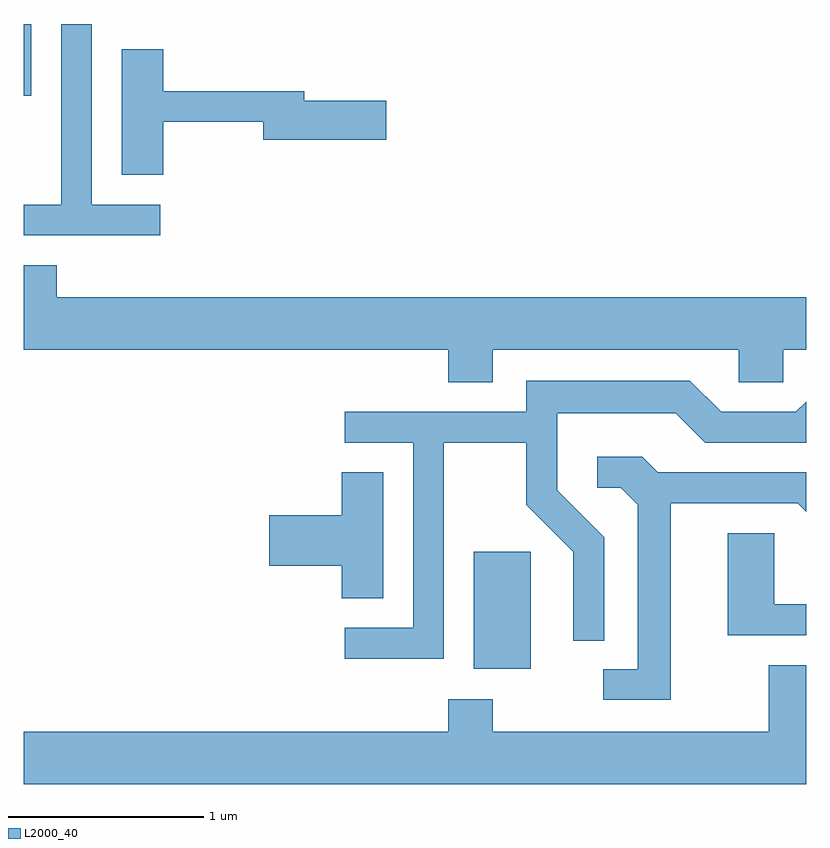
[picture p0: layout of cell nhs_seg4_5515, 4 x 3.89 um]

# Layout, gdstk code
import gdstk
lib = gdstk.Library(unit=1e-6, precision=1e-09)
def R(c, l, rs):  # rectangles x0, y0, x1, y1
    for r in rs: c.add(gdstk.rectangle(r[:2], r[2:], *l))
def P(c, l, *ps):  # polygons
    for p in ps: c.add(gdstk.Polygon(p, *l))
L2000_40 = (2000, 40)

nhs_seg4_5515 = lib.new_cell('nhs_seg4_5515')
R(nhs_seg4_5515, L2000_40, [(349.911,1268.686,350.204,1269.284), (347.611,1271.616,347.649,1271.982)])
P(nhs_seg4_5515, L2000_40, [(348.308,1271.059),(347.959,1271.059),(347.959,1271.982),(347.801,1271.982),(347.801,1271.059),(347.611,1271.059),(347.611,1270.901),(348.308,1270.901)],
  [(348.324,1271.481),(348.836,1271.481),(348.836,1271.391),(349.464,1271.391),(349.464,1271.589),(349.044,1271.589),(349.044,1271.639),(348.324,1271.639),(348.324,1271.854),(348.111,1271.854),(348.111,1271.211),(348.324,1271.211)],
  [(347.611,1270.749),(347.611,1270.316),(349.781,1270.316),(349.781,1270.151),(350.009,1270.151),(350.009,1270.316),(351.266,1270.316),(351.266,1270.151),(351.494,1270.151),(351.494,1270.316),(351.611,1270.316),(351.611,1270.584),(347.779,1270.584),(347.779,1270.749)],
  [(349.759,1269.841),(350.181,1269.841),(350.181,1269.524),(350.421,1269.284),(350.421,1268.828),(350.579,1268.828),(350.579,1269.357),(350.339,1269.597),(350.339,1269.991),(350.944,1269.991),(351.094,1269.841),(351.611,1269.841),(351.611,1270.051),(351.559,1269.999),(351.177,1269.999),(351.017,1270.159),(350.181,1270.159),(350.181,1269.999),(349.253,1269.999),(349.253,1269.841),(349.601,1269.841),(349.601,1268.894),(349.253,1268.894),(349.253,1268.736),(349.759,1268.736)],
  [(350.919,1269.531),(351.569,1269.531),(351.611,1269.489),(351.611,1269.689),(350.852,1269.689),(350.772,1269.769),(350.543,1269.769),(350.543,1269.611),(350.664,1269.611),(350.751,1269.524),(350.751,1268.684),(350.573,1268.684),(350.573,1268.526),(350.919,1268.526)],
  [(349.449,1269.689),(349.236,1269.689),(349.236,1269.469),(348.866,1269.469),(348.866,1269.211),(349.236,1269.211),(349.236,1269.046),(349.449,1269.046)],
  [(351.611,1269.014),(351.449,1269.014),(351.449,1269.379),(351.211,1269.379),(351.211,1268.856),(351.611,1268.856)],
  [(351.611,1268.704),(351.421,1268.704),(351.421,1268.364),(350.009,1268.364),(350.009,1268.529),(349.781,1268.529),(349.781,1268.364),(347.611,1268.364),(347.611,1268.096),(351.611,1268.096)])

lib.write_gds('nhs_seg4_5515.gds')
